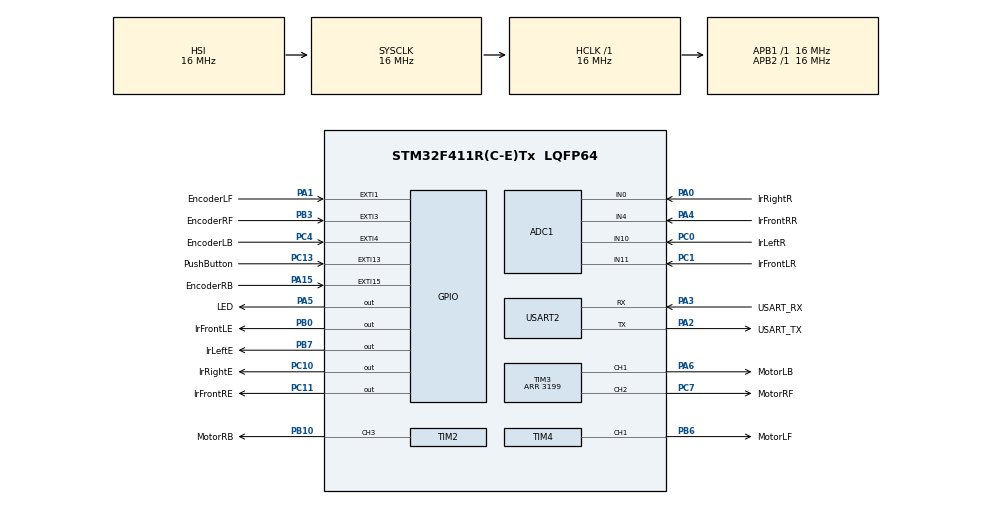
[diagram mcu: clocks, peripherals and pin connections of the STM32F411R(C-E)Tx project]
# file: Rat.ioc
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ADC1.Channel-0\#ChannelRegularConversion=ADC_CHANNEL_11
ADC1.ContinuousConvMode=ENABLE
ADC1.NbrOfConversionFlag=1
ADC1.Rank-0\#ChannelRegularConversion=1
ADC1.SamplingTime-0\#ChannelRegularConversion=ADC_SAMPLETIME_3CYCLES
ADC1.master=1
Mcu.Family=STM32F4
Mcu.Name=STM32F411R(C-E)Tx
Mcu.Package=LQFP64
NVIC.EXTI15_10_IRQn=true\:0\:0\:false\:false\:true\:true\:true
NVIC.EXTI1_IRQn=true\:0\:0\:false\:false\:true\:true\:true
NVIC.EXTI3_IRQn=true\:0\:0\:false\:false\:true\:true\:true
NVIC.EXTI4_IRQn=true\:0\:0\:false\:false\:true\:true\:true
NVIC.PriorityGroup=NVIC_PRIORITYGROUP_0
NVIC.TIM2_IRQn=true\:0\:0\:false\:false\:true\:true\:true
NVIC.TIM3_IRQn=true\:0\:0\:false\:false\:true\:true\:true
NVIC.TIM4_IRQn=true\:0\:0\:false\:false\:true\:true\:true
PA0-WKUP.GPIO_Label=IrRightR
PA0-WKUP.Signal=ADCx_IN0
PA1.GPIO_Label=EncoderLF
PA1.GPIO_ModeDefaultEXTI=GPIO_MODE_IT_RISING_FALLING
PA1.Signal=GPXTI1
PA13.Signal=SYS_JTMS-SWDIO
PA14.GPIO_Label=TCK
PA14.Signal=SYS_JTCK-SWCLK
PA15.GPIO_Label=EncoderRB
PA15.GPIO_ModeDefaultEXTI=GPIO_MODE_IT_RISING_FALLING
PA15.Signal=GPXTI15
PA2.GPIO_Label=USART_TX
PA2.Mode=Asynchronous
PA2.Signal=USART2_TX
PA3.GPIO_Label=USART_RX
PA3.Mode=Asynchronous
PA3.Signal=USART2_RX
PA4.GPIO_Label=IrFrontRR
PA4.Signal=ADCx_IN4
PA5.GPIO_Label=LED
PA5.Signal=GPIO_Output
PA6.GPIO_Label=MotorLB
PA6.Signal=S_TIM3_CH1
PB0.GPIO_Label=IrFrontLE
PB0.Signal=GPIO_Output
PB10.GPIO_Label=MotorRB
PB10.Signal=S_TIM2_CH3
PB3.GPIO_Label=EncoderRF
PB3.GPIO_ModeDefaultEXTI=GPIO_MODE_IT_RISING_FALLING
PB3.Signal=GPXTI3
PB6.GPIO_Label=MotorLF
PB6.Signal=S_TIM4_CH1
PB7.GPIO_Label=IrLeftE
PB7.Signal=GPIO_Output
PC0.GPIO_Label=IrLeftR
PC0.Signal=ADCx_IN10
PC1.GPIO_Label=IrFrontLR
PC1.Signal=ADCx_IN11
PC10.GPIO_Label=IrRightE
PC10.Signal=GPIO_Output
PC11.GPIO_Label=IrFrontRE
PC11.Signal=GPIO_Output
PC13-ANTI_TAMP.GPIO_Label=PushButton
PC13-ANTI_TAMP.GPIO_ModeDefaultEXTI=GPIO_MODE_IT_RISING_FALLING
PC13-ANTI_TAMP.Signal=GPXTI13
PC14-OSC32_IN.Mode=LSE-External-Oscillator
PC14-OSC32_IN.Signal=RCC_OSC32_IN
PC15-OSC32_OUT.Mode=LSE-External-Oscillator
PC15-OSC32_OUT.Signal=RCC_OSC32_OUT
PC4.GPIO_Label=EncoderLB
PC4.GPIO_ModeDefaultEXTI=GPIO_MODE_IT_RISING_FALLING
PC4.Signal=GPXTI4
PC7.GPIO_Label=MotorRF
PC7.Signal=S_TIM3_CH2
PH0\ -\ OSC_IN.Mode=HSE-External-Clock-Source
PH0\ -\ OSC_IN.Signal=RCC_OSC_IN
PH1\ -\ OSC_OUT.Mode=HSE-External-Clock-Source
PH1\ -\ OSC_OUT.Signal=RCC_OSC_OUT
ProjectManager.HeapSize=0x200
ProjectManager.StackSize=0x400
ProjectManager.TargetToolchain=STM32CubeIDE
RCC.48MHZClocksFreq_Value=84000000
RCC.AHBFreq_Value=16000000
RCC.APB1Freq_Value=16000000
RCC.APB1TimFreq_Value=16000000
RCC.APB2Freq_Value=16000000
RCC.APB2TimFreq_Value=16000000
RCC.CortexFreq_Value=16000000
RCC.FLatency-AdvancedSettings=FLASH_LATENCY_0
RCC.HCLKFreq_Value=16000000
RCC.HSE_VALUE=8000000
RCC.HSI_VALUE=16000000
RCC.PLLN=336
RCC.PLLP=RCC_PLLP_DIV4
RCC.SYSCLKFreq_VALUE=16000000
RCC.VCOOutputFreq_Value=336000000
SH.ADCx_IN0.0=ADC1_IN0,IN0
SH.ADCx_IN10.0=ADC1_IN10,IN10
SH.ADCx_IN11.0=ADC1_IN11,IN11
SH.ADCx_IN4.0=ADC1_IN4,IN4
SH.S_TIM2_CH3.0=TIM2_CH3,PWM Generation3 CH3
SH.S_TIM3_CH1.0=TIM3_CH1,PWM Generation1 CH1
SH.S_TIM3_CH2.0=TIM3_CH2,PWM Generation2 CH2
SH.S_TIM4_CH1.0=TIM4_CH1,PWM Generation1 CH1
TIM2.Channel-PWM\ Generation3\ CH3=TIM_CHANNEL_3
TIM2.Period=3199
TIM3.Channel-PWM\ Generation1\ CH1=TIM_CHANNEL_1
TIM3.Channel-PWM\ Generation2\ CH2=TIM_CHANNEL_2
TIM3.Period=3199
TIM4.Channel-PWM\ Generation1\ CH1=TIM_CHANNEL_1
TIM4.Period=3199
USART2.VirtualMode=VM_ASYNC
board=NUCLEO-F411RE

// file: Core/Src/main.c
/* USER CODE BEGIN Header */
/**
  ******************************************************************************
  * @file           : main.c
  * @brief          : Main program body
  ******************************************************************************
  * @attention
  *
  * <h2><center>&copy; Copyright (c) 2019 STMicroelectronics.
  * All rights reserved.</center></h2>
  *
  * This software component is licensed by ST under BSD 3-Clause license,
  * the "License"; You may not use this file except in compliance with the
  * License. You may obtain a copy of the License at:
  *                        opensource.org/licenses/BSD-3-Clause
  *
  ******************************************************************************
  */
/* USER CODE END Header */

#include "main.h"
#include "irs.h"

ADC_HandleTypeDef hadc1;

TIM_HandleTypeDef htim2;
TIM_HandleTypeDef htim3;
TIM_HandleTypeDef htim4;

UART_HandleTypeDef huart2;

void SystemClock_Config(void);
static void MX_GPIO_Init(void);
static void MX_USART2_UART_Init(void);
static void MX_TIM3_Init(void);
static void MX_ADC1_Init(void);
static void MX_TIM2_Init(void);
static void MX_TIM4_Init(void);
/* USER CODE BEGIN PFP */
void MotorR_PWM_Set(float pwm);
void MotorL_PWM_Set(float pwm);
int32_t GetEncoderRCounts(void);
int32_t GetEncoderLCounts(void);
uint32_t Irs_Read_Right(void);
uint32_t Irs_Read_Left(void);
uint32_t Irs_Read_FrontR(void);
uint32_t Irs_Read_FrontL(void);
/* USER CODE END PFP */

int main(void)
{

  /* MCU Configuration--------------------------------------------------------*/

  /* Reset of all peripherals, Initializes the Flash interface and the Systick. */
  HAL_Init();

  /* Configure the system clock */
  SystemClock_Config();

  /* Initialize all configured peripherals */
  MX_GPIO_Init();
  MX_USART2_UART_Init();
  MX_TIM3_Init();
  MX_ADC1_Init();
  MX_TIM2_Init();
  MX_TIM4_Init();
  /* USER CODE BEGIN 2 */

  uint32_t IR_R = 0;
  uint32_t IR_L = 0;
  uint32_t IR_FR = 0;
  uint32_t IR_FL = 0;

  /* USER CODE END 2 */

  /* Infinite loop */
  /* USER CODE BEGIN WHILE */
  //HAL_GPIO_WritePin(IrFrontRE_GPIO_Port, IrFrontRE_Pin, GPIO_PIN_SET);

  while (1)
  {
	  if(Irs_Read_FrontL() < 400 && Irs_Read_FrontR() < 400) {
		  Move_Cells(1);
	  } else if(Irs_Read_Left() < 400) {
		  Turn(-1);
	  } else if(Irs_Read_Right() < 400) {
		  Turn(1);
	  } else {
		  Turn(2);
	  }

  }
    /* USER CODE END WHILE */

}

void SystemClock_Config(void)
{
  RCC_OscInitTypeDef RCC_OscInitStruct = {0};
  RCC_ClkInitTypeDef RCC_ClkInitStruct = {0};

  /** Configure the main internal regulator output voltage
  */
  __HAL_RCC_PWR_CLK_ENABLE();
  __HAL_PWR_VOLTAGESCALING_CONFIG(PWR_REGULATOR_VOLTAGE_SCALE1);
  /** Initializes the CPU, AHB and APB busses clocks
  */
  RCC_OscInitStruct.OscillatorType = RCC_OSCILLATORTYPE_HSI;
  RCC_OscInitStruct.HSIState = RCC_HSI_ON;
  RCC_OscInitStruct.HSICalibrationValue = RCC_HSICALIBRATION_DEFAULT;
  RCC_OscInitStruct.PLL.PLLState = RCC_PLL_NONE;
  if (HAL_RCC_OscConfig(&RCC_OscInitStruct) != HAL_OK)
  {
    Error_Handler();
  }
  /** Initializes the CPU, AHB and APB busses clocks
  */
  RCC_ClkInitStruct.ClockType = RCC_CLOCKTYPE_HCLK|RCC_CLOCKTYPE_SYSCLK
                              |RCC_CLOCKTYPE_PCLK1|RCC_CLOCKTYPE_PCLK2;
  RCC_ClkInitStruct.SYSCLKSource = RCC_SYSCLKSOURCE_HSI;
  RCC_ClkInitStruct.AHBCLKDivider = RCC_SYSCLK_DIV1;
  RCC_ClkInitStruct.APB1CLKDivider = RCC_HCLK_DIV1;
  RCC_ClkInitStruct.APB2CLKDivider = RCC_HCLK_DIV1;

  if (HAL_RCC_ClockConfig(&RCC_ClkInitStruct, FLASH_LATENCY_0) != HAL_OK)
  {
    Error_Handler();
  }
}

static void MX_ADC1_Init(void)
{

  ADC_ChannelConfTypeDef sConfig = {0};

  /** Configure the global features of the ADC (Clock, Resolution, Data Alignment and number of conversion)
  */
  hadc1.Instance = ADC1;
  hadc1.Init.ClockPrescaler = ADC_CLOCK_SYNC_PCLK_DIV2;
  hadc1.Init.Resolution = ADC_RESOLUTION_12B;
  hadc1.Init.ScanConvMode = DISABLE;
  hadc1.Init.ContinuousConvMode = ENABLE;
  hadc1.Init.DiscontinuousConvMode = DISABLE;
  hadc1.Init.ExternalTrigConvEdge = ADC_EXTERNALTRIGCONVEDGE_NONE;
  hadc1.Init.ExternalTrigConv = ADC_SOFTWARE_START;
  hadc1.Init.DataAlign = ADC_DATAALIGN_RIGHT;
  hadc1.Init.NbrOfConversion = 1;
  hadc1.Init.DMAContinuousRequests = DISABLE;
  hadc1.Init.EOCSelection = ADC_EOC_SINGLE_CONV;
  if (HAL_ADC_Init(&hadc1) != HAL_OK)
  {
    Error_Handler();
  }
  /** Configure for the selected ADC regular channel its corresponding rank in the sequencer and its sample time.
  */
  sConfig.Channel = ADC_CHANNEL_11;
  sConfig.Rank = 1;
  sConfig.SamplingTime = ADC_SAMPLETIME_3CYCLES;
  if (HAL_ADC_ConfigChannel(&hadc1, &sConfig) != HAL_OK)
  {
    Error_Handler();
  }

}

static void MX_TIM2_Init(void)
{

  TIM_MasterConfigTypeDef sMasterConfig = {0};
  TIM_OC_InitTypeDef sConfigOC = {0};

  htim2.Instance = TIM2;
  htim2.Init.Prescaler = 0;
  htim2.Init.CounterMode = TIM_COUNTERMODE_UP;
  htim2.Init.Period = 3199;
  htim2.Init.ClockDivision = TIM_CLOCKDIVISION_DIV1;
  htim2.Init.AutoReloadPreload = TIM_AUTORELOAD_PRELOAD_DISABLE;
  if (HAL_TIM_PWM_Init(&htim2) != HAL_OK)
  {
    Error_Handler();
  }
  sMasterConfig.MasterOutputTrigger = TIM_TRGO_RESET;
  sMasterConfig.MasterSlaveMode = TIM_MASTERSLAVEMODE_DISABLE;
  if (HAL_TIMEx_MasterConfigSynchronization(&htim2, &sMasterConfig) != HAL_OK)
  {
    Error_Handler();
  }
  sConfigOC.OCMode = TIM_OCMODE_PWM1;
  sConfigOC.Pulse = 0;
  sConfigOC.OCPolarity = TIM_OCPOLARITY_HIGH;
  sConfigOC.OCFastMode = TIM_OCFAST_DISABLE;
  if (HAL_TIM_PWM_ConfigChannel(&htim2, &sConfigOC, TIM_CHANNEL_3) != HAL_OK)
  {
    Error_Handler();
  }
  HAL_TIM_MspPostInit(&htim2);

}

static void MX_TIM3_Init(void)
{

  TIM_MasterConfigTypeDef sMasterConfig = {0};
  TIM_OC_InitTypeDef sConfigOC = {0};

  htim3.Instance = TIM3;
  htim3.Init.Prescaler = 0;
  htim3.Init.CounterMode = TIM_COUNTERMODE_UP;
  htim3.Init.Period = 3199;
  htim3.Init.ClockDivision = TIM_CLOCKDIVISION_DIV1;
  htim3.Init.AutoReloadPreload = TIM_AUTORELOAD_PRELOAD_DISABLE;
  if (HAL_TIM_PWM_Init(&htim3) != HAL_OK)
  {
    Error_Handler();
  }
  sMasterConfig.MasterOutputTrigger = TIM_TRGO_RESET;
  sMasterConfig.MasterSlaveMode = TIM_MASTERSLAVEMODE_DISABLE;
  if (HAL_TIMEx_MasterConfigSynchronization(&htim3, &sMasterConfig) != HAL_OK)
  {
    Error_Handler();
  }
  sConfigOC.OCMode = TIM_OCMODE_PWM1;
  sConfigOC.Pulse = 0;
  sConfigOC.OCPolarity = TIM_OCPOLARITY_HIGH;
  sConfigOC.OCFastMode = TIM_OCFAST_DISABLE;
  if (HAL_TIM_PWM_ConfigChannel(&htim3, &sConfigOC, TIM_CHANNEL_1) != HAL_OK)
  {
    Error_Handler();
  }
  if (HAL_TIM_PWM_ConfigChannel(&htim3, &sConfigOC, TIM_CHANNEL_2) != HAL_OK)
  {
    Error_Handler();
  }
  HAL_TIM_MspPostInit(&htim3);

}

static void MX_TIM4_Init(void)
{

  TIM_MasterConfigTypeDef sMasterConfig = {0};
  TIM_OC_InitTypeDef sConfigOC = {0};

  htim4.Instance = TIM4;
  htim4.Init.Prescaler = 0;
  htim4.Init.CounterMode = TIM_COUNTERMODE_UP;
  htim4.Init.Period = 3199;
  htim4.Init.ClockDivision = TIM_CLOCKDIVISION_DIV1;
  htim4.Init.AutoReloadPreload = TIM_AUTORELOAD_PRELOAD_DISABLE;
  if (HAL_TIM_PWM_Init(&htim4) != HAL_OK)
  {
    Error_Handler();
  }
  sMasterConfig.MasterOutputTrigger = TIM_TRGO_RESET;
  sMasterConfig.MasterSlaveMode = TIM_MASTERSLAVEMODE_DISABLE;
  if (HAL_TIMEx_MasterConfigSynchronization(&htim4, &sMasterConfig) != HAL_OK)
  {
    Error_Handler();
  }
  sConfigOC.OCMode = TIM_OCMODE_PWM1;
  sConfigOC.Pulse = 0;
  sConfigOC.OCPolarity = TIM_OCPOLARITY_HIGH;
  sConfigOC.OCFastMode = TIM_OCFAST_DISABLE;
  if (HAL_TIM_PWM_ConfigChannel(&htim4, &sConfigOC, TIM_CHANNEL_1) != HAL_OK)
  {
    Error_Handler();
  }
  HAL_TIM_MspPostInit(&htim4);

}

static void MX_USART2_UART_Init(void)
{

  huart2.Instance = USART2;
  huart2.Init.BaudRate = 115200;
  huart2.Init.WordLength = UART_WORDLENGTH_8B;
  huart2.Init.StopBits = UART_STOPBITS_1;
  huart2.Init.Parity = UART_PARITY_NONE;
  huart2.Init.Mode = UART_MODE_TX_RX;
  huart2.Init.HwFlowCtl = UART_HWCONTROL_NONE;
  huart2.Init.OverSampling = UART_OVERSAMPLING_16;
  if (HAL_UART_Init(&huart2) != HAL_OK)
  {
    Error_Handler();
  }

}

static void MX_GPIO_Init(void)
{
  GPIO_InitTypeDef GPIO_InitStruct = {0};

  /* GPIO Ports Clock Enable */
  __HAL_RCC_GPIOC_CLK_ENABLE();
  __HAL_RCC_GPIOH_CLK_ENABLE();
  __HAL_RCC_GPIOA_CLK_ENABLE();
  __HAL_RCC_GPIOB_CLK_ENABLE();

  /*Configure GPIO pin Output Level */
  HAL_GPIO_WritePin(LED_GPIO_Port, LED_Pin, GPIO_PIN_RESET);

  /*Configure GPIO pin Output Level */
  HAL_GPIO_WritePin(GPIOB, IrFrontLE_Pin|IrLeftE_Pin, GPIO_PIN_RESET);

  /*Configure GPIO pin Output Level */
  HAL_GPIO_WritePin(GPIOC, IrRightE_Pin|IrFrontRE_Pin, GPIO_PIN_RESET);

  /*Configure GPIO pins : PushButton_Pin EncoderLB_Pin */
  GPIO_InitStruct.Pin = PushButton_Pin|EncoderLB_Pin;
  GPIO_InitStruct.Mode = GPIO_MODE_IT_RISING_FALLING;
  GPIO_InitStruct.Pull = GPIO_NOPULL;
  HAL_GPIO_Init(GPIOC, &GPIO_InitStruct);

  /*Configure GPIO pins : EncoderLF_Pin EncoderRB_Pin */
  GPIO_InitStruct.Pin = EncoderLF_Pin|EncoderRB_Pin;
  GPIO_InitStruct.Mode = GPIO_MODE_IT_RISING_FALLING;
  GPIO_InitStruct.Pull = GPIO_NOPULL;
  HAL_GPIO_Init(GPIOA, &GPIO_InitStruct);

  /*Configure GPIO pin : LED_Pin */
  GPIO_InitStruct.Pin = LED_Pin;
  GPIO_InitStruct.Mode = GPIO_MODE_OUTPUT_PP;
  GPIO_InitStruct.Pull = GPIO_NOPULL;
  GPIO_InitStruct.Speed = GPIO_SPEED_FREQ_LOW;
  HAL_GPIO_Init(LED_GPIO_Port, &GPIO_InitStruct);

  /*Configure GPIO pins : IrFrontLE_Pin IrLeftE_Pin */
  GPIO_InitStruct.Pin = IrFrontLE_Pin|IrLeftE_Pin;
  GPIO_InitStruct.Mode = GPIO_MODE_OUTPUT_PP;
  GPIO_InitStruct.Pull = GPIO_NOPULL;
  GPIO_InitStruct.Speed = GPIO_SPEED_FREQ_LOW;
  HAL_GPIO_Init(GPIOB, &GPIO_InitStruct);

  /*Configure GPIO pins : IrRightE_Pin IrFrontRE_Pin */
  GPIO_InitStruct.Pin = IrRightE_Pin|IrFrontRE_Pin;
  GPIO_InitStruct.Mode = GPIO_MODE_OUTPUT_PP;
  GPIO_InitStruct.Pull = GPIO_NOPULL;
  GPIO_InitStruct.Speed = GPIO_SPEED_FREQ_LOW;
  HAL_GPIO_Init(GPIOC, &GPIO_InitStruct);

  /*Configure GPIO pin : EncoderRF_Pin */
  GPIO_InitStruct.Pin = EncoderRF_Pin;
  GPIO_InitStruct.Mode = GPIO_MODE_IT_RISING_FALLING;
  GPIO_InitStruct.Pull = GPIO_NOPULL;
  HAL_GPIO_Init(EncoderRF_GPIO_Port, &GPIO_InitStruct);

  /* EXTI interrupt init*/
  HAL_NVIC_SetPriority(EXTI1_IRQn, 0, 0);
  HAL_NVIC_EnableIRQ(EXTI1_IRQn);

  HAL_NVIC_SetPriority(EXTI3_IRQn, 0, 0);
  HAL_NVIC_EnableIRQ(EXTI3_IRQn);

  HAL_NVIC_SetPriority(EXTI4_IRQn, 0, 0);
  HAL_NVIC_EnableIRQ(EXTI4_IRQn);

  HAL_NVIC_SetPriority(EXTI15_10_IRQn, 0, 0);
  HAL_NVIC_EnableIRQ(EXTI15_10_IRQn);

}

/* USER CODE BEGIN 4 */

TIM_HandleTypeDef* Get_HTim2_Ptr(void) {
	return &htim2;
}

TIM_HandleTypeDef* Get_HTim3_Ptr(void) {
	return &htim3;
}

TIM_HandleTypeDef* Get_HTim4_Ptr(void) {
	return &htim4;
}

ADC_HandleTypeDef* Get_HAdc1_Ptr(void)
{
	return &hadc1;
}

/* USER CODE END 4 */

void Error_Handler(void)
{
}

/************************ (C) COPYRIGHT STMicroelectronics *****END OF FILE****/
